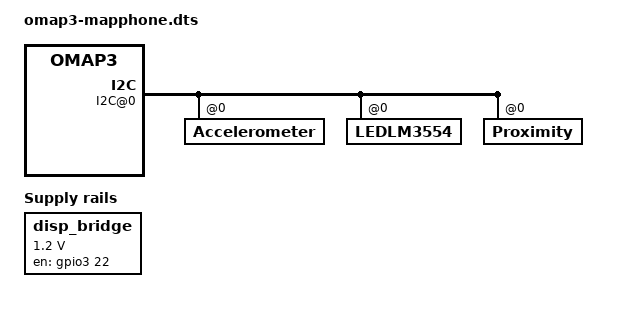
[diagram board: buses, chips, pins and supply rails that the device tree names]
/*
 * Copyright (C) 2014 Motorola Mobility LLC
 *
 * This program is free software; you can redistribute it and/or modify
 * it under the terms of the GNU General Public License version 2 as
 * published by the Free Software Foundation.
 */
/dts-v1/;

/include/ "omap3-mapphone.dtsi"

/ {
	mmi,revision = "p2";
	mmi,hwrev = <
		0x09   /* Minnow P2-9 portable (Rev B) */
	>;

	regulators {
		disp_bridge: gpio-regulator@86 {
			regulator-boot-on;
			compatible = "regulator-fixed";
			regulator-min-microvolt = <1200000>;
			regulator-max-microvolt = <1200000>;
			regulator-name = "disp_bridge";
			gpio = <&gpio3 22 0>; /* GPIO-86 */
			enable-active-high;
			startup-delay-us=<150>;
		};

	};

 	/* bu52014hfv sensor */
	bu52014hfv {
		compatible = "mot,bu52014hfv";
		docked_north_gpio = <10>;
		docked_south_gpio = <111>;
		north_is_desk = <1>;
	};

	Display@0 {
		gpio_vio_en = <&gpio2 10 0>;    /* VDDIO gpio-42 */
		gpio_mem_en = <&gpio3 23 0>;    /* MEM_EN gpio-87 */
		bridge-supply = <&disp_bridge>;
	};

	GPIO@0 {
		class = "GPIO";
		bt_wake_b = <8>;
		ccel1_int = <22>;
		gps_standby = <23>;
		akm8973_reset = <28>;
		gps_reset = <59>;
		wlan_host_wake = <65>;
		als_int = <16>;
		touch_panel_int = <99>;
		gps_interrupt = <160>;
		touch_panel_rst = <164>;
		akm8973_int = <175>;
		power_off = <176>;
		bt_host_wake_b = <15>;
		bt_reset_b = <21>;
		vib_control_en = <182>;
		wlan_reset = <186>;
		lm3530_int = <92>;
		lcd_panel_reset = <93>;
		lm3530_reset = <93>;
		lcd_panel_sd = <98>;
		gpio_cam_reset = <98>;
		gpio_cam_pwdn = <64>;
		type = <0x30003>;

		HallEffect@0 {
			class = "HallEffect";
			device_available = <01>;
			type = <0x170000>;
		};
	};

	I2C@0 {
		bus1devices = "qtouch-obp-ts,lm3530_led,isl29030_als_ir";
		bus2devices = "akm8973,kxtf9";
		bus3devices = "camise,HP_GEN_LENS,lm3554_led,mt9p012";
		class = "I2C";
		type = <0x10003>;

		Accelerometer@0 {
			axis_map_x = <0>;
			axis_map_y = <1>;
			axis_map_z = <2>;
			class = "Accelerometer";
			negate_x = <1>;
			negate_y = <0>;
			negate_z = <1>;
			type = <0x180000>;
		};

		LEDLM3554@0 {
			class = "LEDLM3554";
			device_available = <1>;
			flash_duration_def = [cf];
			type = <0xb0001>;
		};

		Proximity@0 {
			class = "Proximity";
			configure = <62>;
			crosstalk_vs_covered_threshold = <50>;
			default_prox_noise_floor = <50>;
			i2c_addr = <44>;
			interrupt_cntrl = <20>;
			lens_percent_t = <14>;
			num_samples_for_noise_floor = <05>;
			prox_higher_threshold = <14>;
			prox_lower_threshold = <0x0a>;
			type = <0x1d0000>;
		};

	};
};

